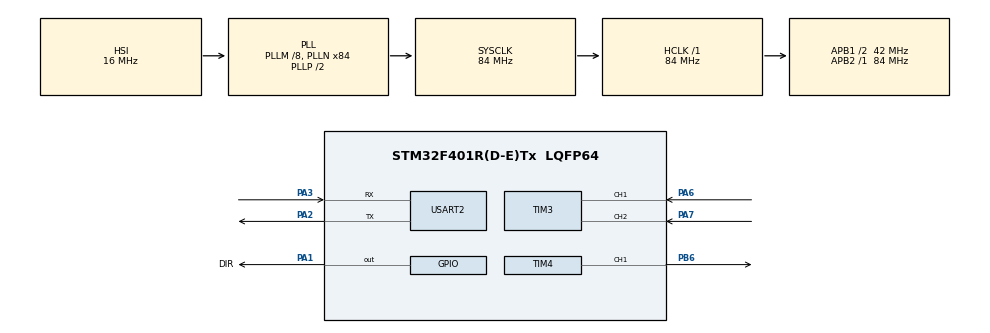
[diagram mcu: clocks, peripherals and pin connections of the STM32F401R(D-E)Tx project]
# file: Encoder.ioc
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Mcu.Family=STM32F4
Mcu.Name=STM32F401R(D-E)Tx
Mcu.Package=LQFP64
NVIC.PriorityGroup=NVIC_PRIORITYGROUP_4
NVIC.TIM3_IRQn=true\:0\:0\:false\:false\:true\:true\:true\:true
NVIC.TIM4_IRQn=true\:0\:0\:false\:false\:true\:true\:true\:true
NVIC.USART2_IRQn=true\:0\:0\:false\:false\:true\:true\:true\:true
PA1.GPIO_Label=DIR 
PA1.GPIO_Speed=GPIO_SPEED_FREQ_HIGH
PA1.Signal=GPIO_Output
PA2.Mode=Asynchronous
PA2.Signal=USART2_TX
PA3.Mode=Asynchronous
PA3.Signal=USART2_RX
PA6.Signal=S_TIM3_CH1
PA7.Signal=S_TIM3_CH2
PB6.Signal=S_TIM4_CH1
PH0\ -\ OSC_IN.Mode=HSE-External-Oscillator
PH0\ -\ OSC_IN.Signal=RCC_OSC_IN
PH1\ -\ OSC_OUT.Mode=HSE-External-Oscillator
PH1\ -\ OSC_OUT.Signal=RCC_OSC_OUT
ProjectManager.HeapSize=0x200
ProjectManager.StackSize=0x400
ProjectManager.TargetToolchain=STM32CubeIDE
RCC.48MHZClocksFreq_Value=42000000
RCC.AHBFreq_Value=84000000
RCC.APB1CLKDivider=RCC_HCLK_DIV2
RCC.APB1Freq_Value=42000000
RCC.APB1TimFreq_Value=84000000
RCC.APB2Freq_Value=84000000
RCC.APB2TimFreq_Value=84000000
RCC.CortexFreq_Value=84000000
RCC.HCLKFreq_Value=84000000
RCC.HSE_VALUE=25000000
RCC.HSI_VALUE=16000000
RCC.LSE_VALUE=32768
RCC.PLLM=8
RCC.PLLN=84
RCC.SYSCLKFreq_VALUE=84000000
RCC.SYSCLKSource=RCC_SYSCLKSOURCE_PLLCLK
RCC.VCOOutputFreq_Value=168000000
SH.S_TIM3_CH1.0=TIM3_CH1,Encoder_Interface
SH.S_TIM3_CH2.0=TIM3_CH2,Encoder_Interface
SH.S_TIM4_CH1.0=TIM4_CH1,PWM Generation1 CH1
TIM4.AutoReloadPreload=TIM_AUTORELOAD_PRELOAD_ENABLE
TIM4.Channel-PWM\ Generation1\ CH1=TIM_CHANNEL_1
TIM4.Period=999
TIM4.Prescaler=83
TIM4.TIM_MasterOutputTrigger=TIM_TRGO_RESET
TIM4.TIM_MasterSlaveMode=TIM_MASTERSLAVEMODE_DISABLE
USART2.VirtualMode=VM_ASYNC
VP_RTC_VS_RTC_Activate.Mode=RTC_Enabled
board=custom

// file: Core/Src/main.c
/* USER CODE BEGIN Header */
/**
  ******************************************************************************
  * @file           : main.c
  * @brief          : Main program body
  ******************************************************************************
  * @attention
  *
  * Copyright (c) 2024 STMicroelectronics.
  * All rights reserved.
  *
  * This software is licensed under terms that can be found in the LICENSE file
  * in the root directory of this software component.
  * If no LICENSE file comes with this software, it is provided AS-IS.
  *
  ******************************************************************************
  */
/* USER CODE END Header */
#include "main.h"
#include "rtc.h"
#include "tim.h"
#include "usart.h"
#include "gpio.h"

/* USER CODE BEGIN Includes */
#include <stdio.h>
#include <string.h>
#include <math.h>
/* USER CODE END Includes */

/* USER CODE BEGIN PD */
#define RX_BUFFER_SIZE 1
/* USER CODE END PD */

/* USER CODE BEGIN PV */
uint32_t encoder_count = 0;       // Encoder counter value
int16_t encoder_diff = 0;         // Difference in encoder count
uint32_t last_encoder_count = 0;  // Previous encoder count
uint16_t pwm_value = 500;         // PWM duty cycle (0-1000)
//14Jan//uint8_t rx_buffer[RX_BUFFER_SIZE];  // Buffer to store received data
//14Jan//uint8_t rx_index = 0;

char rx_buffer[20]; // Buffer to hold the received string
    float deviation = 0.0f; // Variable to store the parsed float
    uint8_t rx_index = 0;   // Index for tracking received characters

uint32_t readings_count = 0;

/* PID constants */
//#define Kp 50.0  // Proportional gain (adjust as needed)
#define Ki 0  // Integral gain (adjust as needed)
#define Kd 0  // Derivative gain (adjust as needed)
//#define MOTOR_MAX_SPEED 1000  // Maximum motor speed

//#define ENCODER_PPR 2500 // Replace this with the actual pulses per revolution of your encoder
//#define MAX_ROTATIONS 3
#define MAX_ENCODER_COUNT (ENCODER_PPR * MAX_ROTATIONS)

#define ENCODER_PPR 500 // Replace this with the actual pulses per revolution of your encoder
#define MAX_ROTATIONS 1.0f // Maximum rotations for high deviation
#define MIN_ROTATIONS 0.5f // Minimum rotations for low deviation
#define MAX_MOTOR_SPEED 140 // Maximum motor speed
#define MIN_MOTOR_SPEED 40  // Minimum motor speed
#define MAX_DEVIATION 3.0f  // Maximum deviation value for scaling
#define KP 50.0f           // Proportional gain for PID control
#define KI 0
#define KD 10.0f            // Derivative gain for PID control
#define MAX_PID_OUTPUT 255 //MAX_PID_OUTPUT 0 ~ 255
/* Global variables for PID control */
float integral = 0.0;
float previous_error = 0.0;

/* USER CODE END PV */

void SystemClock_Config(void);
/* USER CODE BEGIN PFP */
void Print_Encoder_Data(void);
void HAL_UART_RxCpltCallback(UART_HandleTypeDef *huart);
//void MotorControl(uint8_t command);
void MotorControl(float deviation, int16_t encoder_position);
static void Leaving_App_Handler();
static void Write_RTC_backup_reg(uint32_t reg ,uint32_t data);
//void Motor_Control(int16_t speed);
/* USER CODE END PFP */

int main(void)
{

  /* MCU Configuration--------------------------------------------------------*/

  /* Reset of all peripherals, Initializes the Flash interface and the Systick. */
  HAL_Init();

  /* Configure the system clock */
  SystemClock_Config();

  /* Initialize all configured peripherals */
  MX_GPIO_Init();
  MX_TIM3_Init();
  MX_TIM4_Init();
  MX_USART2_UART_Init();
  MX_RTC_Init();
  /* USER CODE BEGIN 2 */
  /* Start TIM3 in Encoder Mode */
  HAL_TIM_Encoder_Start(&htim3, TIM_CHANNEL_ALL);
  HAL_TIM_PWM_Start(&htim4, TIM_CHANNEL_1);
  // Initialize the buffer
  memset(rx_buffer, 0, sizeof(rx_buffer));

  /* Send welcome message over USART1 */
//char msg[] = "STM32 Encoder and Motor Control Test\n\r";
  char msg[] = "77777777777777777\n\r";
    HAL_UART_Transmit(&huart2, (uint8_t *)msg, strlen(msg), HAL_MAX_DELAY);
  /* USER CODE END 2 */

  /* Infinite loop */
  /* USER CODE BEGIN WHILE */
  while (1)
  {
	  // Receive 8 readings
	     // if (readings_count < 8) {
	          uint8_t received_byte;
	          HAL_UART_Receive(&huart2, &received_byte, 1, HAL_MAX_DELAY); // Receive 1 byte
	          HAL_UART_Transmit(&huart2, &received_byte, 1, HAL_MAX_DELAY); // Echo received byte (for debugging)

	          // Check for newline to indicate end of float string
	          if (received_byte == '\n') {
	              rx_buffer[rx_index] = '\0'; // Null-terminate the string

	              // Convert the string to a float
	              if (sscanf(rx_buffer, "%f", &deviation) == 1) {
	                  // Successfully parsed the float

	                  // Read the encoder position
	                  int16_t encoder_position = __HAL_TIM_GET_COUNTER(&htim3);
	                  encoder_position = - encoder_position; // Reverse the encoder reading if necessary

	                  // Control the motor based on the deviation
	                  MotorControl(deviation, encoder_position);
	              }

	              // Reset the buffer and index for the next reception
	              memset(rx_buffer, 0, sizeof(rx_buffer));
	              rx_index = 0;

	              // Increment the readings counter after processing each valid reading
	              readings_count++;
	          } else {
	              // Store the received character in the buffer
	              rx_buffer[rx_index++] = received_byte;

	              // Ensure index does not exceed buffer size
	              if (rx_index >= sizeof(rx_buffer) - 1) {
	                  // Buffer overflow protection (reset if exceeded)
	                  memset(rx_buffer, 0, sizeof(rx_buffer));
	                  rx_index = 0;
	              }
	          }
	    //  } else {
	          // After 8 readings, reset the system (exit the app)
	         // Leaving_App_Handler(); // This will cause a system reset and return control to the bootloader
	     // }
  }
	  /* the code is working well but need adjusmtments in returning the wheel to its straight position

	  uint8_t received_byte;
	         HAL_UART_Receive(&huart2, &received_byte, 1, HAL_MAX_DELAY); // Receive 1 byte
	         //		// Echo the received byte back via USART2 (optional for debugging)
	         		HAL_UART_Transmit(&huart2, &received_byte, 1, HAL_MAX_DELAY);

	         // Check for newline to indicate end of float string
	         if (received_byte == '\n') {
	             rx_buffer[rx_index] = '\0'; // Null-terminate the string

	             // Convert the string to a float
	             if (sscanf(rx_buffer, "%f", &deviation) == 1) {
	                 // Successfully parsed the float

	                 // Read the encoder position
	                 int16_t encoder_position = __HAL_TIM_GET_COUNTER(&htim3);

	                 // Control the motor based on the deviation
	                 MotorControl(deviation, encoder_position);
	             }

	             // Reset the buffer and index for the next reception
	             memset(rx_buffer, 0, sizeof(rx_buffer));
	             rx_index = 0;
	         } else {
	             // Store the received character in the buffer
	             rx_buffer[rx_index++] = received_byte;

	             // Ensure index does not exceed buffer size
	             if (rx_index >= sizeof(rx_buffer) - 1) {
	                 // Buffer overflow protection (reset if exceeded)
	                 memset(rx_buffer, 0, sizeof(rx_buffer));
	                 rx_index = 0;
	             }
	         }
	     }
*/

//
//	  /* Read the encoder count */
//	    /* IMPORTANTTTTTTTTTTTTTTT
//	  	encoder_count = __HAL_TIM_GET_COUNTER(&htim3);
//	    encoder_diff = encoder_count - last_encoder_count;
//	    last_encoder_count = encoder_count;
//*/
//	    /* Read the deviation from image processing */
//	    float deviation = received_data;  // Obtain deviation (e.g., from camera algorithm)
//
//	    /* Read the encoder position (optional for limiting steering movement) */
//	    int16_t encoder_position = __HAL_TIM_GET_COUNTER(&htim3);
//
//	    /* Control motor based on deviation */
//	    MotorControl(deviation, encoder_position);
//
//	    /* Print encoder data */
//	    Print_Encoder_Data();
//
///*
//	    HAL_GPIO_WritePin(GPIOA, GPIO_PIN_1, GPIO_PIN_SET);
//	    __HAL_TIM_SET_COMPARE(&htim4, TIM_CHANNEL_1, 300);
//	    HAL_Delay(3000);
//	    __HAL_TIM_SET_COMPARE(&htim4, TIM_CHANNEL_1, 0);
//*/
//
//	    // Re-enable the interrupt for the next byte
//		HAL_UART_Receive(&huart2, &rx_buffer[rx_index], 1, HAL_MAX_DELAY);
//		uint8_t received_data = rx_buffer[rx_index]; // Store the received byte
//
//		// Process received data for motor control
////		MotorControl(received_data); IMPORTNANTTTTTTTTTTTTTTTT
//
//		// Echo the received byte back via USART2 (optional for debugging)
//		HAL_UART_Transmit(&huart2, &received_data, 1, HAL_MAX_DELAY);
//
//
//
//	    /* Example motor control: Change PWM and direction */
///*	    Motor_Control(80);  // Positive value → Forward direction
//	    HAL_Delay(1000);
//	    Motor_Control(-80); // Negative value → Reverse direction
//	    HAL_Delay(1000);
//*/
    /* USER CODE END WHILE */

}

void SystemClock_Config(void)
{
  RCC_OscInitTypeDef RCC_OscInitStruct = {0};
  RCC_ClkInitTypeDef RCC_ClkInitStruct = {0};

  /** Configure the main internal regulator output voltage
  */
  __HAL_RCC_PWR_CLK_ENABLE();
  __HAL_PWR_VOLTAGESCALING_CONFIG(PWR_REGULATOR_VOLTAGE_SCALE2);

  /** Initializes the RCC Oscillators according to the specified parameters
  * in the RCC_OscInitTypeDef structure.
  */
  RCC_OscInitStruct.OscillatorType = RCC_OSCILLATORTYPE_HSI|RCC_OSCILLATORTYPE_LSI;
  RCC_OscInitStruct.HSIState = RCC_HSI_ON;
  RCC_OscInitStruct.HSICalibrationValue = RCC_HSICALIBRATION_DEFAULT;
  RCC_OscInitStruct.LSIState = RCC_LSI_ON;
  RCC_OscInitStruct.PLL.PLLState = RCC_PLL_ON;
  RCC_OscInitStruct.PLL.PLLSource = RCC_PLLSOURCE_HSI;
  RCC_OscInitStruct.PLL.PLLM = 8;
  RCC_OscInitStruct.PLL.PLLN = 84;
  RCC_OscInitStruct.PLL.PLLP = RCC_PLLP_DIV2;
  RCC_OscInitStruct.PLL.PLLQ = 4;
  if (HAL_RCC_OscConfig(&RCC_OscInitStruct) != HAL_OK)
  {
    Error_Handler();
  }

  /** Initializes the CPU, AHB and APB buses clocks
  */
  RCC_ClkInitStruct.ClockType = RCC_CLOCKTYPE_HCLK|RCC_CLOCKTYPE_SYSCLK
                              |RCC_CLOCKTYPE_PCLK1|RCC_CLOCKTYPE_PCLK2;
  RCC_ClkInitStruct.SYSCLKSource = RCC_SYSCLKSOURCE_PLLCLK;
  RCC_ClkInitStruct.AHBCLKDivider = RCC_SYSCLK_DIV1;
  RCC_ClkInitStruct.APB1CLKDivider = RCC_HCLK_DIV2;
  RCC_ClkInitStruct.APB2CLKDivider = RCC_HCLK_DIV1;

  if (HAL_RCC_ClockConfig(&RCC_ClkInitStruct, FLASH_LATENCY_2) != HAL_OK)
  {
    Error_Handler();
  }
}

/* USER CODE BEGIN 4 */
/* Function to print encoder data */
void Print_Encoder_Data(void)
{
  char buffer[50];
  sprintf(buffer, "Encoder Count: %lu, Diff: %d\n\r", encoder_count, encoder_diff);
  HAL_UART_Transmit(&huart2, (uint8_t *)buffer, strlen(buffer), HAL_MAX_DELAY);
}
/* Function for motor contor */

static void Leaving_App_Handler(){
    //make bootManager enter bootloader

	Write_RTC_backup_reg(0x08020000, 0);
    Write_RTC_backup_reg(0x08030000, 0);

    //Write_RTC_backup_reg(APPLICATION_ENTER_FLAG_ADDRESS, N_ENTER);
    //Write_RTC_backup_reg(BOOTLOADER_UPDATER_ENTER_FLAG_ADDRESS, ENTER);
    //sw reset
    NVIC_SystemReset();
}
static void Write_RTC_backup_reg(uint32_t reg ,uint32_t data){

HAL_PWR_EnableBkUpAccess();
HAL_RTCEx_BKUPWrite(&hrtc, reg, data);
HAL_PWR_DisableBkUpAccess();

}

void MotorControl(float deviation, int16_t encoder_position) {

	  static float prev_error = 0.0f; // Previous error for derivative calculation
	  float integral = 0;
	  static int16_t target_position = 0; // Target encoder position (default = 0)

	    float error = deviation; // Deviation as the current error
	    integral += error; // Accumulate integral
	    float derivative = error - prev_error; // Derivative calculation
	    float pid_output = KP * error + KD * derivative ;//+ KI * integral;

	    // Update the previous error
	    prev_error = error;

	    // Determine target encoder position based on deviation
	    if (deviation > 0.05f) {
	        target_position = (int16_t)((deviation / MAX_DEVIATION) * MAX_ENCODER_COUNT);
	    } else if (deviation < -0.05f) {
	        target_position = (int16_t)((deviation / MAX_DEVIATION) * MAX_ENCODER_COUNT); // Handle negative deviation
	    } else {
	        target_position = 0; // When deviation is zero or close to zero, return to primary position
	    }

	    // **Clamp the target position within ±500 PPR**
	    if (target_position > 500) target_position = 500;
	    if (target_position < -500) target_position = -500;
	    // Calculate the error to the target position
	    int16_t position_error = target_position - encoder_position;

	    // Compute motor speed based on position error
//	    uint32_t motor_speed = (uint32_t)((fabs(position_error) / MAX_ENCODER_COUNT) *(MAX_MOTOR_SPEED - MIN_MOTOR_SPEED) + MIN_MOTOR_SPEED);

	    uint32_t motor_speed = (uint32_t)((fabs(pid_output) / MAX_PID_OUTPUT) * (MAX_MOTOR_SPEED - MIN_MOTOR_SPEED) + MIN_MOTOR_SPEED);

	    if (motor_speed > MAX_MOTOR_SPEED) motor_speed = MAX_MOTOR_SPEED;
	    if (motor_speed < MIN_MOTOR_SPEED) motor_speed = MIN_MOTOR_SPEED;

	    // Control motor direction and speed
	    if (position_error > 0) {
	        HAL_GPIO_WritePin(GPIOA, GPIO_PIN_1, GPIO_PIN_RESET);   // DIR = 1 (move right)
	        __HAL_TIM_SET_COMPARE(&htim4, TIM_CHANNEL_1, motor_speed); // Set PWM
	    } else if (position_error < 0) {
	        HAL_GPIO_WritePin(GPIOA, GPIO_PIN_1, GPIO_PIN_SET);     // DIR = 0 (move left)
	        __HAL_TIM_SET_COMPARE(&htim4, TIM_CHANNEL_1, motor_speed); // Set PWM
	    } else {
	        __HAL_TIM_SET_COMPARE(&htim4, TIM_CHANNEL_1, 0); // Stop the motor when in position
	    }

	/*	 // Static variables for storing the previous error
	    static float prev_error = 0.0f;

	    // Compute PID output
	    float error = deviation; // Deviation as the current error
	    float derivative = error - prev_error;
	    float pid_output = KP * error + KD * derivative;

	    // Update the previous error
	    prev_error = error;

	    // Scale the motor speed and maximum rotation based on deviation
	    float abs_deviation = fabs(deviation);
	    uint32_t motor_speed = (uint32_t)((abs_deviation / MAX_DEVIATION) * (MAX_MOTOR_SPEED - MIN_MOTOR_SPEED) + MIN_MOTOR_SPEED);
	    if (motor_speed > MAX_MOTOR_SPEED) motor_speed = MAX_MOTOR_SPEED;
	    if (motor_speed < MIN_MOTOR_SPEED) motor_speed = MIN_MOTOR_SPEED;

	    float max_rotations = (abs_deviation / MAX_DEVIATION) * (MAX_ROTATIONS - MIN_ROTATIONS) + MIN_ROTATIONS;
	    if (max_rotations > MAX_ROTATIONS) max_rotations = MAX_ROTATIONS;
	    if (max_rotations < MIN_ROTATIONS) max_rotations = MIN_ROTATIONS;

	    int32_t max_encoder_count = (int32_t)(ENCODER_PPR);

	    // Limit the encoder position to within the dynamically scaled max rotation range
	    if (encoder_position >= max_encoder_count && pid_output > 0) {
	        pid_output = 0; // Prevent further movement to the right
	    } else if (encoder_position <= -max_encoder_count && pid_output < 0) {
	        pid_output = 0; // Prevent further movement to the left
	    }

	    // Control motor direction and speed
	    if (pid_output > 0) {
	        HAL_GPIO_WritePin(GPIOA, GPIO_PIN_1, GPIO_PIN_RESET);   // DIR = 1 (right)
	        __HAL_TIM_SET_COMPARE(&htim4, TIM_CHANNEL_1, motor_speed); // Set PWM
	    } else if (pid_output < 0) {
	        HAL_GPIO_WritePin(GPIOA, GPIO_PIN_1, GPIO_PIN_SET); // DIR = 0 (left)
	        __HAL_TIM_SET_COMPARE(&htim4, TIM_CHANNEL_1, motor_speed); // Set PWM
	    } else {
	        __HAL_TIM_SET_COMPARE(&htim4, TIM_CHANNEL_1, 0); // Stop the motor
	    }
*/

	//    // Define constants
//    const uint32_t MAX_MOTOR_SPEED = 300; // Adjust as needed
//    const float KP = 100.0f; // Proportional gain for PID control
//    const float KD = 10.0f;  // Derivative gain for PID control
//
//    // Static variables for storing the previous error
//    static float prev_error = 0.0f;
//
//    // Compute PID output
//    float error = deviation; // Deviation as the current error
//    float derivative = error - prev_error;
//    float pid_output = KP * error + KD * derivative;
//
//    // Update the previous error
//    prev_error = error;
//
//    // Limit the encoder position to within the max rotation range
//    if (encoder_position >= MAX_ENCODER_COUNT && pid_output > 0) {
//        pid_output = 0; // Prevent further movement to the right
//    } else if (encoder_position <= -MAX_ENCODER_COUNT && pid_output < 0) {
//        pid_output = 0; // Prevent further movement to the left
//    }
//
//    // Determine motor speed and direction
//    uint32_t motor_speed = (uint32_t)fabs(pid_output);
//    if (motor_speed > MAX_MOTOR_SPEED) {
//        motor_speed = MAX_MOTOR_SPEED; // Limit the motor speed
//    }
//
//    if (pid_output > 0) {
//        HAL_GPIO_WritePin(GPIOA, GPIO_PIN_1, GPIO_PIN_SET);   // DIR = 1 (right)
//        __HAL_TIM_SET_COMPARE(&htim4, TIM_CHANNEL_1, motor_speed); // Set PWM
//    } else if (pid_output < 0) {
//        HAL_GPIO_WritePin(GPIOA, GPIO_PIN_1, GPIO_PIN_RESET); // DIR = 0 (left)
//        __HAL_TIM_SET_COMPARE(&htim4, TIM_CHANNEL_1, motor_speed); // Set PWM
//    } else {
//        __HAL_TIM_SET_COMPARE(&htim4, TIM_CHANNEL_1, 0); // Stop the motor
//    }
}

//    // PID calculations
//    float error = deviation;  // The deviation is the error
//    integral += error;        // Accumulate integral
//    float derivative = error - previous_error;  // Calculate derivative
//    previous_error = error;   // Update previous error
//
//    // PID output
//    float pid_output = (Kp * error) + (Ki * integral) + (Kd * derivative);
//
//    // Convert PID output to motor speed and direction
//    uint32_t motor_speed = (uint32_t)fabs(pid_output);
//    if (motor_speed > MOTOR_MAX_SPEED) {
//        motor_speed = MOTOR_MAX_SPEED;  // Clamp motor speed to maximum
//    }
//
//    if (pid_output > 0) {
//        // Deviation to the right, turn steering wheel left
//        HAL_GPIO_WritePin(GPIOA, GPIO_PIN_1, GPIO_PIN_RESET);  // DIR = 0
//        __HAL_TIM_SET_COMPARE(&htim4, TIM_CHANNEL_1, motor_speed);  // Set PWM duty cycle
//    } else if (pid_output < 0) {
//        // Deviation to the left, turn steering wheel right
//        HAL_GPIO_WritePin(GPIOA, GPIO_PIN_1, GPIO_PIN_SET);    // DIR = 1
//        __HAL_TIM_SET_COMPARE(&htim4, TIM_CHANNEL_1, motor_speed);  // Set PWM duty cycle
//    } else {
//        // Centered, stop the motor
//        __HAL_TIM_SET_COMPARE(&htim4, TIM_CHANNEL_1, 0);  // Set PWM to 0
//    }
//}

/* IMPORTANTTTTTTTTTTTTTTTTTTT
void MotorControl(uint8_t command) {
   // Define constants
    const uint32_t MOTOR_SPEED = 300; // Constant speed (adjust as needed)

    if (command == 0x1) {
        // Turn the motor to the right
        HAL_GPIO_WritePin(GPIOA, GPIO_PIN_1, GPIO_PIN_SET);   // DIR = 1
        __HAL_TIM_SET_COMPARE(&htim4, TIM_CHANNEL_1, MOTOR_SPEED); // Set PWM duty cycle

    } else if (command == 0x2) {
        // Turn the motor to the left
        HAL_GPIO_WritePin(GPIOA, GPIO_PIN_1, GPIO_PIN_RESET); // DIR = 0
        __HAL_TIM_SET_COMPARE(&htim4, TIM_CHANNEL_1, MOTOR_SPEED); // Set PWM duty cycle

    } else if (command == 0x0) {
        // Stop the motor
        __HAL_TIM_SET_COMPARE(&htim4, TIM_CHANNEL_1, 0); // Set PWM to 0
    }
}
*/
/* Function to control motor PWM and direction */
//void Motor_Control(int16_t speed)
//{
/*
  if (speed >= 0)
  {
    HAL_GPIO_WritePin(GPIOA, GPIO_PIN_1, GPIO_PIN_SET); // Forward direction
    __HAL_TIM_SET_COMPARE(&htim4, TIM_CHANNEL_1, speed);
  }
  else
  {
    HAL_GPIO_WritePin(GPIOA, GPIO_PIN_1, GPIO_PIN_RESET); // Reverse direction
    __HAL_TIM_SET_COMPARE(&htim4, TIM_CHANNEL_1, -speed);
  }
*/
//}
/*
void HAL_UART_RxCpltCallback(UART_HandleTypeDef *huart) {
        if (huart->Instance == USART2) { // Check if the interrupt is for USART2
        uint8_t received_data = rx_buffer[rx_index]; // Store the received byte

        // Process received data for motor control
        MotorControl(received_data);

        // Echo the received byte back via USART2 (optional for debugging)
        HAL_UART_Transmit(&huart2, &received_data, 1, HAL_MAX_DELAY);

        // Re-enable the interrupt for the next byte
        HAL_UART_Receive_IT(&huart2, &rx_buffer[rx_index], 1);
    }
}
*/
/* USER CODE END 4 */

void Error_Handler(void)
{
  __disable_irq();
  while (1)
  {
  }
}
